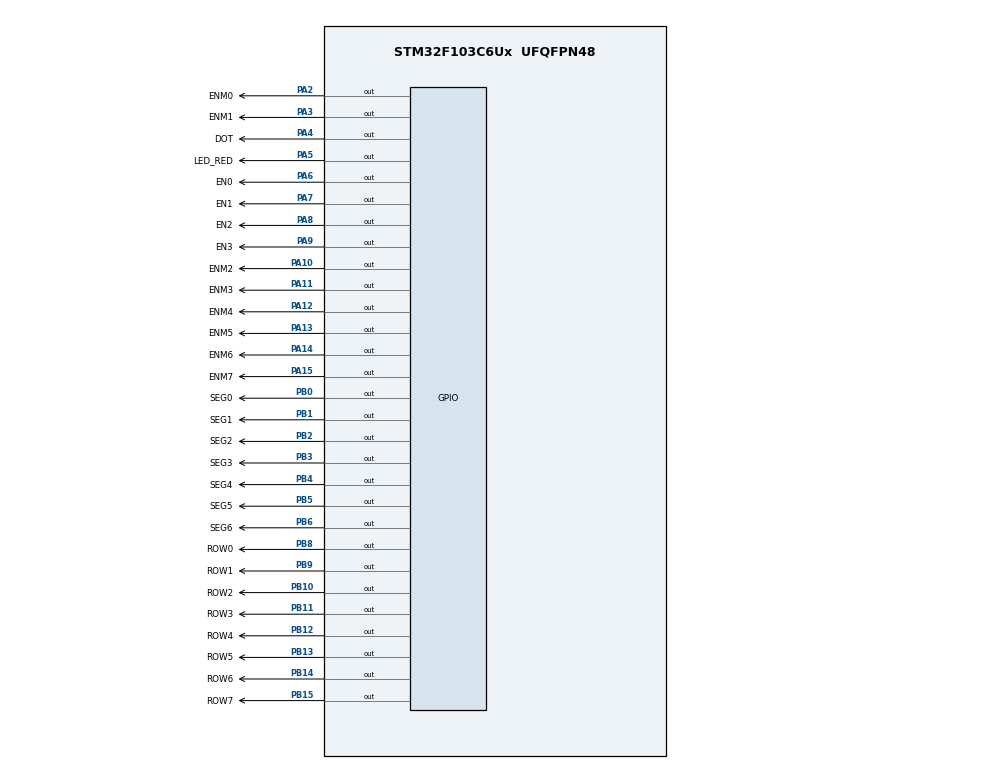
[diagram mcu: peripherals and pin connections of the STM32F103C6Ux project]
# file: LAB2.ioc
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Mcu.Family=STM32F1
Mcu.Name=STM32F103C6Ux
Mcu.Package=UFQFPN48
NVIC.PriorityGroup=NVIC_PRIORITYGROUP_4
NVIC.TIM2_IRQn=true\:0\:0\:false\:false\:true\:true\:true
PA10.GPIO_Label=ENM2
PA10.Signal=GPIO_Output
PA11.GPIO_Label=ENM3
PA11.Signal=GPIO_Output
PA12.GPIO_Label=ENM4
PA12.Signal=GPIO_Output
PA13.GPIO_Label=ENM5
PA13.Signal=GPIO_Output
PA14.GPIO_Label=ENM6
PA14.Signal=GPIO_Output
PA15.GPIO_Label=ENM7
PA15.Signal=GPIO_Output
PA2.GPIO_Label=ENM0
PA2.Signal=GPIO_Output
PA3.GPIO_Label=ENM1
PA3.Signal=GPIO_Output
PA4.GPIO_Label=DOT
PA4.Signal=GPIO_Output
PA5.GPIO_Label=LED_RED
PA5.Signal=GPIO_Output
PA6.GPIO_Label=EN0
PA6.Signal=GPIO_Output
PA7.GPIO_Label=EN1
PA7.Signal=GPIO_Output
PA8.GPIO_Label=EN2
PA8.Signal=GPIO_Output
PA9.GPIO_Label=EN3
PA9.Signal=GPIO_Output
PB0.GPIO_Label=SEG0
PB0.Signal=GPIO_Output
PB1.GPIO_Label=SEG1
PB1.Signal=GPIO_Output
PB10.GPIO_Label=ROW2
PB10.Signal=GPIO_Output
PB11.GPIO_Label=ROW3
PB11.Signal=GPIO_Output
PB12.GPIO_Label=ROW4
PB12.Signal=GPIO_Output
PB13.GPIO_Label=ROW5
PB13.Signal=GPIO_Output
PB14.GPIO_Label=ROW6
PB14.Signal=GPIO_Output
PB15.GPIO_Label=ROW7
PB15.Signal=GPIO_Output
PB2.GPIO_Label=SEG2
PB2.Signal=GPIO_Output
PB3.GPIO_Label=SEG3
PB3.Signal=GPIO_Output
PB4.GPIO_Label=SEG4
PB4.Signal=GPIO_Output
PB5.GPIO_Label=SEG5
PB5.Signal=GPIO_Output
PB6.GPIO_Label=SEG6
PB6.Signal=GPIO_Output
PB8.GPIO_Label=ROW0
PB8.Signal=GPIO_Output
PB9.GPIO_Label=ROW1
PB9.Signal=GPIO_Output
ProjectManager.HeapSize=0x200
ProjectManager.StackSize=0x400
ProjectManager.TargetToolchain=STM32CubeIDE
RCC.APB1Freq_Value=8000000
RCC.APB2Freq_Value=8000000
TIM2.Period=9
TIM2.Prescaler=7999
VP_SYS_VS_ND.Mode=No_Debug
VP_TIM2_VS_ClockSourceINT.Mode=Internal
board=custom

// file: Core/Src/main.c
/* USER CODE BEGIN Header */
/**
  ******************************************************************************
  * @file           : main.c
  * @brief          : Main program body
  ******************************************************************************
  * @attention
  *
  * <h2><center>&copy; Copyright (c) 2022 STMicroelectronics.
  * All rights reserved.</center></h2>
  *
  * This software component is licensed by ST under BSD 3-Clause license,
  * the "License"; You may not use this file except in compliance with the
  * License. You may obtain a copy of the License at:
  *                        opensource.org/licenses/BSD-3-Clause
  *
  ******************************************************************************
  */
/* USER CODE END Header */
#include "main.h"

/* USER CODE BEGIN Includes */
#include "software_timer.h"
/* USER CODE END Includes */

TIM_HandleTypeDef htim2;

void SystemClock_Config(void);
static void MX_GPIO_Init(void);
static void MX_TIM2_Init(void);

/* USER CODE BEGIN 0 */
const int MAX_LED = 4;
const int MAX_LED_MATRIX = 8;

int index_led = 0;
int index_led_matrix = 0;

int matrix_shift_flag = 0;
uint8_t shift = 0;

int hour = 10, minute = 9, second = 20;
int led_buffer[4] = {1,2,3,4};
int pinControll7SEG[4] = {EN0_Pin, EN1_Pin, EN2_Pin, EN3_Pin};
uint8_t matrix_buffer[8] = {0xE7,0xDB,0xBD,0x7E,0x00,0x00,0x7E,0x7E};
/* USER CODE END 0 */
void clearLed() {
	HAL_GPIO_WritePin(GPIOA, EN0_Pin | EN1_Pin | EN2_Pin | EN3_Pin, SET);
}

void clearPin(int index) {
  HAL_GPIO_WritePin(GPIOA, pinControll7SEG[index], SET);
}

void enablePin(int index) {
	HAL_GPIO_WritePin(GPIOA, pinControll7SEG[index], RESET);
}

void display7SEG(int num) {
    char segNumber[10] = {0xC0, 0xF9, 0xA4, 0xB0, 0x99, 0x92, 0x82, 0xF8, 0x80, 0x90};
    for (int i = 0; i < 7; ++i) {
        HAL_GPIO_WritePin(GPIOB, GPIO_PIN_0 << i, (segNumber[num] >> i) & 1);
    }
}

void clearEnable(){
	HAL_GPIO_WritePin(EN0_GPIO_Port, EN0_Pin, 1);
	HAL_GPIO_WritePin(EN1_GPIO_Port, EN1_Pin, 1);
	HAL_GPIO_WritePin(EN2_GPIO_Port, EN2_Pin, 1);
	HAL_GPIO_WritePin(EN3_GPIO_Port, EN3_Pin, 1);
}

void update7SEG(int index) {
	clearLed();
	clearEnable();
	switch(index) {
	 // Display the first 7 SEG with led_buffer [0]
	  case 0: {
		  display7SEG(led_buffer[0]);
		  enablePin(0);
		  break;
	  }
	  // Display the first 7 SEG with led_buffer [1]
	  case 1: {
		  display7SEG(led_buffer[1]);
		  enablePin(1);
		  break;
	  }
	  // Display the first 7 SEG with led_buffer [2]
	  case 2: {
		  display7SEG(led_buffer[2]);
		  enablePin(2);
		  break;
	  }
	  // Display the first 7 SEG with led_buffer [3]
	  case 3: {
		  display7SEG(led_buffer[3]);
		  enablePin(3);
		  break;
	  }
	}
}

void updateClockBuffer() {
    led_buffer[0] = hour / 10;
    led_buffer[1] = hour % 10;
    led_buffer[2] = minute / 10;
    led_buffer[3] = minute % 10;
}

void setCol(uint8_t val){
	HAL_GPIO_WritePin(ENM0_GPIO_Port, ENM0_Pin, ((val>>7)&0x01));
	HAL_GPIO_WritePin(ENM1_GPIO_Port, ENM1_Pin, ((val>>6)&0x01));
	HAL_GPIO_WritePin(ENM2_GPIO_Port, ENM2_Pin, ((val>>5)&0x01));
	HAL_GPIO_WritePin(ENM3_GPIO_Port, ENM3_Pin, ((val>>4)&0x01));
	HAL_GPIO_WritePin(ENM4_GPIO_Port, ENM4_Pin, ((val>>3)&0x01));
	HAL_GPIO_WritePin(ENM5_GPIO_Port, ENM5_Pin, ((val>>2)&0x01));
	HAL_GPIO_WritePin(ENM6_GPIO_Port, ENM6_Pin, ((val>>1)&0x01));
	HAL_GPIO_WritePin(ENM7_GPIO_Port, ENM7_Pin, ((val>>0)&0x01));
}

void setMatrix(void){
	HAL_GPIO_WritePin(ROW0_GPIO_Port, ROW0_Pin, SET);
	HAL_GPIO_WritePin(ROW1_GPIO_Port, ROW1_Pin, SET);
	HAL_GPIO_WritePin(ROW2_GPIO_Port, ROW2_Pin, SET);
	HAL_GPIO_WritePin(ROW3_GPIO_Port, ROW3_Pin, SET);
	HAL_GPIO_WritePin(ROW4_GPIO_Port, ROW4_Pin, SET);
	HAL_GPIO_WritePin(ROW5_GPIO_Port, ROW5_Pin, SET);
	HAL_GPIO_WritePin(ROW6_GPIO_Port, ROW6_Pin, SET);
	HAL_GPIO_WritePin(ROW7_GPIO_Port, ROW7_Pin, SET);
}
void updateLEDMatrix(uint8_t index, uint8_t shift){
	setMatrix();
	uint8_t matrix_buffer_shift = (matrix_buffer[index] << shift) | (matrix_buffer[index] >> (8-shift));
	switch (index){
	case 0:
		setCol(matrix_buffer_shift);
		HAL_GPIO_WritePin(ROW0_GPIO_Port, ROW0_Pin, RESET);
		break;
	case 1:
		setCol(matrix_buffer_shift);
		HAL_GPIO_WritePin(ROW1_GPIO_Port, ROW1_Pin, RESET);
		break;
	case 2:
		setCol(matrix_buffer_shift);
		HAL_GPIO_WritePin(ROW2_GPIO_Port, ROW2_Pin, RESET);
		break;
	case 3:
		setCol(matrix_buffer_shift);
		HAL_GPIO_WritePin(ROW3_GPIO_Port, ROW3_Pin, RESET);
		break;
	case 4:
		setCol(matrix_buffer_shift);
		HAL_GPIO_WritePin(ROW4_GPIO_Port, ROW4_Pin, RESET);
		break;
	case 5:
		setCol(matrix_buffer_shift);
		HAL_GPIO_WritePin(ROW5_GPIO_Port, ROW5_Pin, RESET);
		break;
	case 6:
		setCol(matrix_buffer_shift);
		HAL_GPIO_WritePin(ROW6_GPIO_Port, ROW6_Pin, RESET);
		break;
	case 7:
		setCol(matrix_buffer_shift);
		HAL_GPIO_WritePin(ROW7_GPIO_Port, ROW7_Pin, RESET);
		break;
	default:
		break;
	}
}
void updateTime(int *hour, int *minute, int *second) {
    (*second)++;
    if (*second >= 60) {
        *second = 0;
        (*minute)++;
    }
    if (*minute >= 60) {
        *minute = 0;
        (*hour)++;
    }
    if (*hour >= 24) {
        *hour = 0;
    }
}

/* USER CODE END 0 */
int main(void)
{

  /* MCU Configuration--------------------------------------------------------*/

  /* Reset of all peripherals, Initializes the Flash interface and the Systick. */
  HAL_Init();

  /* Configure the system clock */
  SystemClock_Config();

  /* Initialize all configured peripherals */
  MX_GPIO_Init();
  MX_TIM2_Init();
  /* USER CODE BEGIN 2 */
  HAL_TIM_Base_Start_IT(&htim2);
  /* USER CODE END 2 */

  /* Infinite loop */
  /* USER CODE BEGIN WHILE */

   setTimer1(1000);
   setTimer2(1000);
   setTimer3(250);
   setTimer4(125);
   setTimer5(15);
   updateClockBuffer();
  while (1)
   {
    // LED BLINK AND DOT
	  if(timer1_flag == 1) {
		HAL_GPIO_TogglePin(LED_RED_GPIO_Port, LED_RED_Pin);
		HAL_GPIO_TogglePin(DOT_GPIO_Port, DOT_Pin);
		setTimer1(1000);
   }

   // UPDATE TIME
	  if(timer2_flag == 1) {
		  updateTime(&hour, &minute, &second);
		  updateClockBuffer();
		  setTimer2(1000);
   }
   // UPDATE LED7SEG
	if(timer3_flag == 1) {
				update7SEG(index_led);
				index_led++;
				if(index_led >= 4) index_led = 0;
			    setTimer3(250);
   }
   //UPDATE LEDMATRIX
	if(timer4_flag == 1){
		      updateLEDMatrix(index_led_matrix, shift);
		      index_led_matrix++;
		      if(index_led_matrix >= 8) index_led_matrix = 0;
		      setTimer4(125);
	}
    if(timer5_flag == 1){
    	shift++;
		      if(shift >= 8) shift = 0;
		      setTimer5(15);
	}
    /* USER CODE END WHILE */

  }
}

void SystemClock_Config(void)
{
  RCC_OscInitTypeDef RCC_OscInitStruct = {0};
  RCC_ClkInitTypeDef RCC_ClkInitStruct = {0};

  /** Initializes the RCC Oscillators according to the specified parameters
  * in the RCC_OscInitTypeDef structure.
  */
  RCC_OscInitStruct.OscillatorType = RCC_OSCILLATORTYPE_HSI;
  RCC_OscInitStruct.HSIState = RCC_HSI_ON;
  RCC_OscInitStruct.HSICalibrationValue = RCC_HSICALIBRATION_DEFAULT;
  RCC_OscInitStruct.PLL.PLLState = RCC_PLL_NONE;
  if (HAL_RCC_OscConfig(&RCC_OscInitStruct) != HAL_OK)
  {
    Error_Handler();
  }
  /** Initializes the CPU, AHB and APB buses clocks
  */
  RCC_ClkInitStruct.ClockType = RCC_CLOCKTYPE_HCLK|RCC_CLOCKTYPE_SYSCLK
                              |RCC_CLOCKTYPE_PCLK1|RCC_CLOCKTYPE_PCLK2;
  RCC_ClkInitStruct.SYSCLKSource = RCC_SYSCLKSOURCE_HSI;
  RCC_ClkInitStruct.AHBCLKDivider = RCC_SYSCLK_DIV1;
  RCC_ClkInitStruct.APB1CLKDivider = RCC_HCLK_DIV1;
  RCC_ClkInitStruct.APB2CLKDivider = RCC_HCLK_DIV1;

  if (HAL_RCC_ClockConfig(&RCC_ClkInitStruct, FLASH_LATENCY_0) != HAL_OK)
  {
    Error_Handler();
  }
}

static void MX_TIM2_Init(void)
{

  TIM_ClockConfigTypeDef sClockSourceConfig = {0};
  TIM_MasterConfigTypeDef sMasterConfig = {0};

  htim2.Instance = TIM2;
  htim2.Init.Prescaler = 7999;
  htim2.Init.CounterMode = TIM_COUNTERMODE_UP;
  htim2.Init.Period = 65535;
  htim2.Init.ClockDivision = TIM_CLOCKDIVISION_DIV1;
  htim2.Init.AutoReloadPreload = TIM_AUTORELOAD_PRELOAD_DISABLE;
  if (HAL_TIM_Base_Init(&htim2) != HAL_OK)
  {
    Error_Handler();
  }
  sClockSourceConfig.ClockSource = TIM_CLOCKSOURCE_INTERNAL;
  if (HAL_TIM_ConfigClockSource(&htim2, &sClockSourceConfig) != HAL_OK)
  {
    Error_Handler();
  }
  sMasterConfig.MasterOutputTrigger = TIM_TRGO_RESET;
  sMasterConfig.MasterSlaveMode = TIM_MASTERSLAVEMODE_DISABLE;
  if (HAL_TIMEx_MasterConfigSynchronization(&htim2, &sMasterConfig) != HAL_OK)
  {
    Error_Handler();
  }

}

static void MX_GPIO_Init(void)
{
  GPIO_InitTypeDef GPIO_InitStruct = {0};

  /* GPIO Ports Clock Enable */
  __HAL_RCC_GPIOA_CLK_ENABLE();
  __HAL_RCC_GPIOB_CLK_ENABLE();

  /*Configure GPIO pin Output Level */
  HAL_GPIO_WritePin(GPIOA, ENM0_Pin|ENM1_Pin|DOT_Pin|LED_RED_Pin
                          |EN0_Pin|EN1_Pin|EN2_Pin|EN3_Pin
                          |ENM2_Pin|ENM3_Pin|ENM4_Pin|ENM5_Pin
                          |ENM6_Pin|ENM7_Pin, GPIO_PIN_RESET);

  /*Configure GPIO pin Output Level */
  HAL_GPIO_WritePin(GPIOB, SEG0_Pin|SEG1_Pin|SEG2_Pin|ROW2_Pin
                          |ROW3_Pin|ROW4_Pin|ROW5_Pin|ROW6_Pin
                          |ROW7_Pin|SEG3_Pin|SEG4_Pin|SEG5_Pin
                          |SEG6_Pin|ROW0_Pin|ROW1_Pin, GPIO_PIN_RESET);

  /*Configure GPIO pins : ENM0_Pin ENM1_Pin DOT_Pin LED_RED_Pin
                           EN0_Pin EN1_Pin EN2_Pin EN3_Pin
                           ENM2_Pin ENM3_Pin ENM4_Pin ENM5_Pin
                           ENM6_Pin ENM7_Pin */
  GPIO_InitStruct.Pin = ENM0_Pin|ENM1_Pin|DOT_Pin|LED_RED_Pin
                          |EN0_Pin|EN1_Pin|EN2_Pin|EN3_Pin
                          |ENM2_Pin|ENM3_Pin|ENM4_Pin|ENM5_Pin
                          |ENM6_Pin|ENM7_Pin;
  GPIO_InitStruct.Mode = GPIO_MODE_OUTPUT_PP;
  GPIO_InitStruct.Pull = GPIO_NOPULL;
  GPIO_InitStruct.Speed = GPIO_SPEED_FREQ_LOW;
  HAL_GPIO_Init(GPIOA, &GPIO_InitStruct);

  /*Configure GPIO pins : SEG0_Pin SEG1_Pin SEG2_Pin ROW2_Pin
                           ROW3_Pin ROW4_Pin ROW5_Pin ROW6_Pin
                           ROW7_Pin SEG3_Pin SEG4_Pin SEG5_Pin
                           SEG6_Pin ROW0_Pin ROW1_Pin */
  GPIO_InitStruct.Pin = SEG0_Pin|SEG1_Pin|SEG2_Pin|ROW2_Pin
                          |ROW3_Pin|ROW4_Pin|ROW5_Pin|ROW6_Pin
                          |ROW7_Pin|SEG3_Pin|SEG4_Pin|SEG5_Pin
                          |SEG6_Pin|ROW0_Pin|ROW1_Pin;
  GPIO_InitStruct.Mode = GPIO_MODE_OUTPUT_PP;
  GPIO_InitStruct.Pull = GPIO_NOPULL;
  GPIO_InitStruct.Speed = GPIO_SPEED_FREQ_LOW;
  HAL_GPIO_Init(GPIOB, &GPIO_InitStruct);

}

/* USER CODE BEGIN 4 */

void HAL_TIM_PeriodElapsedCallback(TIM_HandleTypeDef *htim)
{
	timer_run();
}

/* USER CODE END 4 */

void Error_Handler(void)
{
  __disable_irq();
  while (1)
  {
  }
}

/************************ (C) COPYRIGHT STMicroelectronics *****END OF FILE****/
